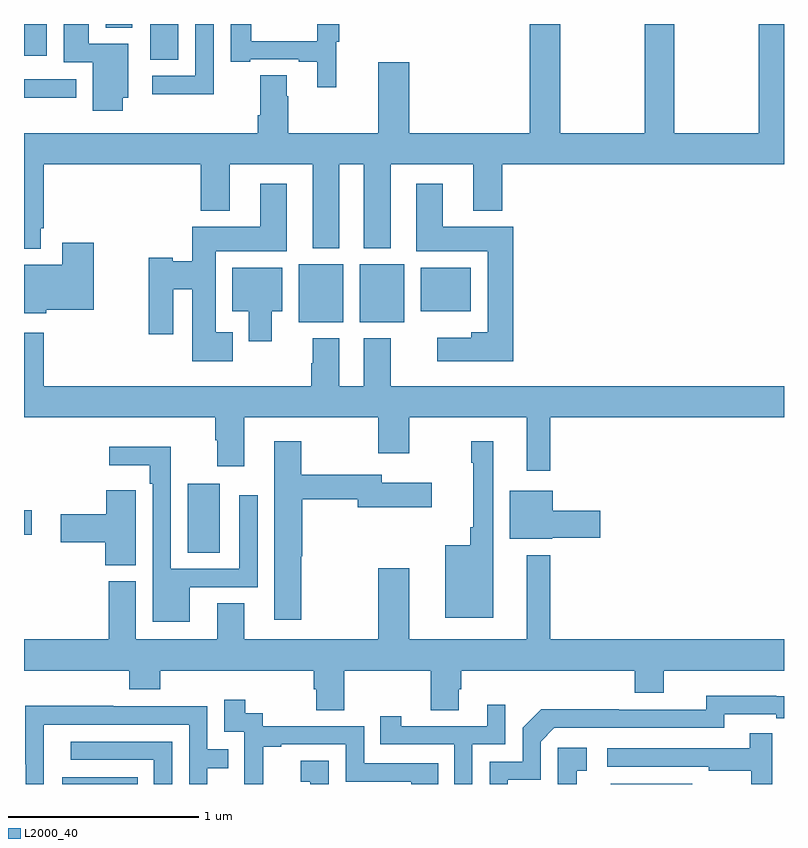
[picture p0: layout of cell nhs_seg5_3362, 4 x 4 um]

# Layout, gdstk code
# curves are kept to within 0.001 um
import gdstk
lib = gdstk.Library(unit=1e-6, precision=1e-09)
def R(c, l, rs):  # rectangles x0, y0, x1, y1
    for r in rs: c.add(gdstk.rectangle(r[:2], r[2:], *l))
def P(c, l, *ps):  # polygons
    for p in ps: c.add(gdstk.Polygon(p, *l))
L2000_40 = (2000, 40)

nhs_seg5_3362 = lib.new_cell('nhs_seg5_3362')
R(nhs_seg5_3362, L2000_40, [(307.202,886.799,307.598,886.834), (310.088,886.799,310.516,886.801), (307.862,888.016,308.029,888.379), (307,888.11,307.042,888.24), (308.447,889.229,308.68,889.534), (308.768,889.229,309.001,889.534), (309.089,889.286,309.352,889.516), (307,890.412,307.276,890.508), (307.664,890.611,307.813,890.799), (307,890.631,307.12,890.799), (307.43,890.78,307.57,890.799), (308.285,890.798,308.455,890.799)])
P(nhs_seg5_3362, L2000_40, [(307.998,890.799),(307.902,890.799),(307.902,890.526),(307.674,890.526),(307.674,890.429),(307.998,890.429)],
  [(307.519,890.411),(307.549,890.411),(307.549,890.694),(307.342,890.694),(307.342,890.799),(307.208,890.799),(307.208,890.598),(307.361,890.598),(307.361,890.343),(307.519,890.343)],
  [(307.087,889.723),(307.105,889.723),(307.105,890.06),(307.931,890.06),(307.931,889.817),(308.083,889.817),(308.083,890.06),(308.519,890.06),(308.519,889.619),(308.659,889.619),(308.659,890.06),(308.789,890.06),(308.789,889.619),(308.929,889.619),(308.929,890.06),(309.365,890.06),(309.365,889.817),(309.518,889.817),(309.518,890.06),(311,890.06),(311,890.799),(310.867,890.799),(310.867,890.224),(310.422,890.224),(310.422,890.799),(310.267,890.799),(310.267,890.224),(309.822,890.224),(309.822,890.799),(309.662,890.799),(309.662,890.224),(309.028,890.224),(309.028,890.599),(308.864,890.599),(308.864,890.224),(308.391,890.224),(308.391,890.42),(308.383,890.42),(308.383,890.528),(308.243,890.528),(308.243,890.32),(308.231,890.32),(308.231,890.224),(307,890.224),(307,889.616),(307.087,889.616)],
  [(308.643,890.706),(308.66,890.706),(308.66,890.799),(308.544,890.799),(308.544,890.709),(308.197,890.709),(308.197,890.799),(308.087,890.799),(308.087,890.601),(308.191,890.601),(308.191,890.613),(308.447,890.613),(308.447,890.601),(308.543,890.601),(308.543,890.466),(308.643,890.466)],
  [(308.098,889.177),(308.008,889.177),(308.008,889.604),(308.383,889.604),(308.383,889.957),(308.243,889.957),(308.243,889.732),(307.886,889.732),(307.886,889.55),(307.782,889.55),(307.782,889.568),(307.657,889.568),(307.657,889.167),(307.786,889.167),(307.786,889.403),(307.886,889.403),(307.886,889.025),(308.098,889.025)],
  [(309.575,889.732),(309.205,889.732),(309.205,889.957),(309.065,889.957),(309.065,889.604),(309.44,889.604),(309.44,889.177),(309.353,889.177),(309.353,889.147),(309.174,889.147),(309.174,889.025),(309.575,889.025)],
  [(307.116,889.295),(307.368,889.295),(307.368,889.648),(307.202,889.648),(307.202,889.531),(307,889.531),(307,889.277),(307.116,889.277)],
  [(308.305,889.286),(308.359,889.286),(308.359,889.516),(308.096,889.516),(308.096,889.286),(308.183,889.286),(308.183,889.128),(308.305,889.128)],
  [(309.769,888.728),(311,888.728),(311,888.892),(308.929,888.892),(308.929,889.144),(308.789,889.144),(308.789,888.892),(308.659,888.892),(308.659,889.144),(308.519,889.144),(308.519,889.013),(308.512,889.013),(308.512,888.892),(307.105,888.892),(307.105,889.174),(307,889.174),(307,888.728),(308.006,888.728),(308.006,888.608),(308.018,888.608),(308.018,888.471),(308.158,888.471),(308.158,888.728),(308.864,888.728),(308.864,888.54),(309.028,888.54),(309.028,888.728),(309.647,888.728),(309.647,888.447),(309.769,888.447)],
  [(308.46,887.999),(308.465,887.999),(308.465,888.298),(308.756,888.298),(308.756,888.256),(309.145,888.256),(309.145,888.385),(308.884,888.385),(308.884,888.427),(308.46,888.427),(308.46,888.604),(308.318,888.604),(308.318,887.664),(308.46,887.664)],
  [(309.469,888.604),(309.355,888.604),(309.355,888.491),(309.365,888.491),(309.365,888.151),(309.348,888.151),(309.348,888.055),(309.218,888.055),(309.218,887.675),(309.469,887.675)],
  [(307.873,887.835),(308.229,887.835),(308.229,888.319),(308.133,888.319),(308.133,887.931),(307.773,887.931),(307.773,888.574),(307.449,888.574),(307.449,888.476),(307.661,888.476),(307.661,888.38),(307.677,888.38),(307.677,887.654),(307.873,887.654)],
  [(307.588,888.233),(307.587,888.233),(307.587,888.346),(307.432,888.346),(307.432,888.218),(307.194,888.218),(307.194,888.071),(307.427,888.071),(307.427,887.95),(307.588,887.95)],
  [(309.78,888.095),(310.033,888.095),(310.033,888.237),(309.784,888.237),(309.784,888.343),(309.557,888.343),(309.557,888.089),(309.78,888.089)],
  [(308.685,887.396),(309.142,887.396),(309.142,887.188),(309.289,887.188),(309.289,887.298),(309.302,887.298),(309.302,887.396),(310.214,887.396),(310.214,887.279),(310.366,887.279),(310.366,887.396),(311,887.396),(311,887.56),(309.769,887.56),(309.769,888.004),(309.647,888.004),(309.647,887.56),(309.028,887.56),(309.028,887.935),(308.864,887.935),(308.864,887.56),(308.158,887.56),(308.158,887.75),(308.018,887.75),(308.018,887.56),(307.588,887.56),(307.588,887.865),(307.445,887.865),(307.445,887.56),(307,887.56),(307,887.396),(307.553,887.396),(307.553,887.297),(307.718,887.297),(307.718,887.396),(308.525,887.396),(308.525,887.298),(308.537,887.298),(308.537,887.188),(308.685,887.188)],
  [(309.547,886.821),(309.72,886.821),(309.72,887.022),(309.792,887.094),(310.686,887.094),(310.686,887.166),(310.958,887.166),(310.958,887.146),(311,887.146),(311,887.262),(310.59,887.263),(310.59,887.19),(310.13,887.19),(310.13,887.192),(309.722,887.192),(309.624,887.094),(309.624,886.917),(309.45,886.917),(309.45,886.799),(309.547,886.799)],
  [(308.258,886.995),(308.353,886.995),(308.353,887.007),(308.694,887.007),(308.694,886.812),(309.039,886.812),(309.039,886.799),(309.179,886.799),(309.179,886.908),(308.79,886.908),(308.79,887.103),(308.256,887.103),(308.256,887.172),(308.164,887.172),(308.164,887.242),(308.055,887.242),(308.055,887.073),(308.16,887.073),(308.16,886.844),(308.159,886.844),(308.159,886.799),(308.258,886.799)],
  [(309.36,887.007),(309.534,887.007),(309.534,887.215),(309.437,887.215),(309.437,887.103),(308.986,887.103),(308.986,887.155),(308.875,887.155),(308.875,887.007),(309.264,887.007),(309.264,886.799),(309.36,886.799)],
  [(307.104,886.858),(307.105,886.858),(307.105,887.112),(307.869,887.112),(307.869,886.799),(307.965,886.799),(307.965,886.882),(308.075,886.882),(308.075,886.983),(307.965,886.983),(307.965,887.208),(307.469,887.208),(307.469,887.21),(307.006,887.21),(307.006,886.903),(307.008,886.903),(307.008,886.799),(307.104,886.799)],
  [(310.937,887.065),(310.819,887.065),(310.819,886.986),(310.071,886.986),(310.071,886.89),(310.603,886.89),(310.603,886.87),(310.827,886.87),(310.827,886.799),(310.937,886.799)],
  [(307.779,887.022),(307.245,887.022),(307.245,886.926),(307.683,886.926),(307.683,886.799),(307.779,886.799)],
  [(309.908,886.869),(309.961,886.869),(309.961,886.99),(309.81,886.99),(309.81,886.799),(309.908,886.799)],
  [(308.604,886.921),(308.457,886.921),(308.457,886.811),(308.506,886.811),(308.506,886.799),(308.604,886.799)])

lib.write_gds('nhs_seg5_3362.gds')
